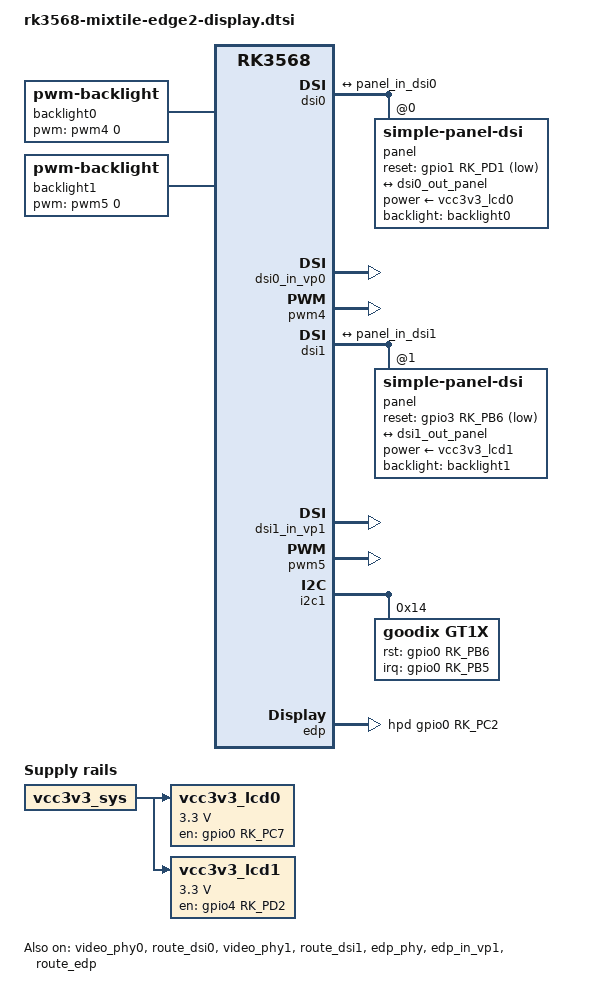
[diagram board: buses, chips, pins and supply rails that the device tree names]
/ {
        vcc3v3_lcd0: vcc3v3-lcd0 {
                compatible = "regulator-fixed";
                regulator-name = "vcc3v3_lcd0";
                regulator-boot-on;
                regulator-min-microvolt = <3300000>;
                regulator-max-microvolt = <3300000>;
                enable-active-high;
                gpio = <&gpio0 RK_PC7 GPIO_ACTIVE_HIGH>;
                vin-supply = <&vcc3v3_sys>;

                regulator-state-mem {
                        regulator-off-in-suspend;
                };
        };

        vcc3v3_lcd1: vcc3v3-lcd1 {
                compatible = "regulator-fixed";
                regulator-name = "vcc3v3_lcd1";
                regulator-boot-on;
                regulator-min-microvolt = <3300000>;
                regulator-max-microvolt = <3300000>;
                enable-active-high;
                gpio = <&gpio4 RK_PD2 GPIO_ACTIVE_HIGH>;
                vin-supply = <&vcc3v3_sys>;

                regulator-state-mem {
                        regulator-off-in-suspend;
                };
        };

        backlight0: backlight0 {
                compatible = "pwm-backlight";
                pwms = <&pwm4 0 25000 0>;
		brightness-levels = <0 255>;
                num-interpolated-steps = <255>;
                default-brightness-level = <250>;
	};

        backlight1: backlight1 {
                compatible = "pwm-backlight";
                pwms = <&pwm5 0 25000 0>;
		brightness-levels = <0 255>;
                num-interpolated-steps = <255>;
                default-brightness-level = <250>;
	};

};

&video_phy0 {
    status = "okay";
};

&dsi0 {
	status = "okay";

        panel@0 {
                compatible = "simple-panel-dsi";
                reg = <0>;
                backlight = <&backlight0>;
		reset-gpios = <&gpio1 RK_PD1 GPIO_ACTIVE_LOW>;
		pinctrl-names = "default";
		pinctrl-0 = <&lcd0_rst_gpio>;
		status = "okay";
                power-supply = <&vcc3v3_lcd0>;
                prepare-delay-ms = <60>;
                reset-delay-ms = <60>;
                init-delay-ms = <60>;
                enable-delay-ms = <60>;
                disable-delay-ms = <60>;
                unprepare-delay-ms = <60>;
                width-mm = <68>;
                height-mm = <121>;
                dsi,flags = <(MIPI_DSI_MODE_VIDEO | MIPI_DSI_MODE_VIDEO_BURST |
                              MIPI_DSI_MODE_LPM | MIPI_DSI_MODE_EOT_PACKET)>;
                dsi,format = <MIPI_DSI_FMT_RGB888>;
                dsi,lanes = <4>;

                panel-init-sequence = [
                        05 fa 01 11
			39 00 04 B9 FF 83 99
			15 00 02 BA 43
			15 00 02 D2 44
			39 00 0D B1 00 7C 34 34 44 09 22 22 71 F1 B2 4A
			39 00 0B B2 00 80 00 7F 05 07 23 4D 21 01
			39 00 29 B4 00 FF 02 40 02 40 00 00 06 00 01 02 00 0F 01 02 05 20 00 04 44 02 40 02 40 00 00 06 00 01 02 00 0F 01 02 05 00 00 04 44
			39 05 20 D3 00 01 00 00 00 06 00 00 10 04 00 04 00 00 00 00 00 00 00 00 00 00 01 05 05 07 00 00 00 05 08
			39 05 21 D5 18 18 19 19 18 18 21 20 01 00 07 06 05 04 03 02 18 18 18 18 18 18 30 30 31 31 32 32 18 18 18 18
			39 05 21 D6 18 18 19 19 40 40 20 21 06 07 00 01 02 03 04 05 40 40 40 40 40 40 30 30 31 31 32 32 40 40 40 40
			39 00 31 D8 A2 AA 02 A0 A2 A8 02 A0 B0 00 00 00 B0 00 00 00 B0 00 00 00 B0 00 00 00 E2 AA 03 F0 E2 AA 03 F0 00 00 00 00 00 00 00 00 E2 AA 03 F0 E2 AA 03 F0
			39 00 03 B6 29 29
			39 00 2B E0 01 06 06 2A 2F 3E 0F 3A 05 09 0F 13 15 14 15 12 18 07 16 07 14 01 06 06 2A 2F 3E 0F 3A 05 09 0F 13 15 14 15 12 18 07 16 07 14
			05 00 01 21
			15 00 02 36 02
			05 ff 01 11
			05 ff 01 29
                ];

                panel-exit-sequence = [
                        05 00 01 28
                        05 00 01 10
                ];

                display-timings {
                        native-mode = <&timing0>;

                        timing0: timing0 {
                                clock-frequency = <132000000>;
                                hactive = <1080>;
                                vactive = <1920>;
                                hfront-porch = <15>;
                                hsync-len = <2>;
                                hback-porch = <30>;
                                vfront-porch = <15>;
                                vsync-len = <2>;
                                vback-porch = <15>;
                                hsync-active = <0>;
                                vsync-active = <0>;
                                de-active = <0>;
                                pixelclk-active = <1>;
                     };
                };

		ports {
			#address-cells = <1>;
			#size-cells = <0>;

			port@0 {
				reg = <0>;

				panel_in_dsi0: endpoint {
					remote-endpoint = <&dsi0_out_panel>;
				};
			};
		};
	};

	ports {
		#address-cells = <1>;
		#size-cells = <0>;

		port@1 {
			reg = <1>;
			#address-cells = <1>;
			#size-cells = <0>;

			dsi0_out_panel: endpoint@0 {
				reg = <0>;
				remote-endpoint = <&panel_in_dsi0>;
			};
		};
	};
};

&dsi0_in_vp0 {
	status = "okay";
};

&dsi0_in_vp1 {
	status = "disabled";
};

&route_dsi0 {
	status = "okay";
	connect = <&vp1_out_dsi0>;
};

&pwm4 {
	status = "okay";
};


&video_phy1 {
    status = "okay";
};

&dsi1 {
	status = "okay";

        panel@1 {
                compatible = "simple-panel-dsi";
                reg = <1>;
                backlight = <&backlight1>;
		reset-gpios = <&gpio3 RK_PB6 GPIO_ACTIVE_LOW>;
                power-supply = <&vcc3v3_lcd1>;
		pinctrl-names = "default";
		pinctrl-0 = <&lcd1_rst_gpio>;
		status = "okay";
                prepare-delay-ms = <60>;
                reset-delay-ms = <60>;
                init-delay-ms = <60>;
                enable-delay-ms = <60>;
                disable-delay-ms = <60>;
                unprepare-delay-ms = <60>;
                width-mm = <68>;
                height-mm = <121>;
                dsi,flags = <(MIPI_DSI_MODE_VIDEO | MIPI_DSI_MODE_VIDEO_BURST |
                              MIPI_DSI_MODE_LPM | MIPI_DSI_MODE_EOT_PACKET)>;
                dsi,format = <MIPI_DSI_FMT_RGB888>;
                dsi,lanes = <4>;

                panel-init-sequence = [
                        05 fa 01 11
			39 00 04 B9 FF 83 99
			15 00 02 BA 43
			15 00 02 D2 44
			39 00 0D B1 00 7C 34 34 44 09 22 22 71 F1 B2 4A
			39 00 0B B2 00 80 00 7F 05 07 23 4D 21 01
			39 00 29 B4 00 FF 02 40 02 40 00 00 06 00 01 02 00 0F 01 02 05 20 00 04 44 02 40 02 40 00 00 06 00 01 02 00 0F 01 02 05 00 00 04 44
			39 05 20 D3 00 01 00 00 00 06 00 00 10 04 00 04 00 00 00 00 00 00 00 00 00 00 01 05 05 07 00 00 00 05 08
			39 05 21 D5 18 18 19 19 18 18 21 20 01 00 07 06 05 04 03 02 18 18 18 18 18 18 30 30 31 31 32 32 18 18 18 18
			39 05 21 D6 18 18 19 19 40 40 20 21 06 07 00 01 02 03 04 05 40 40 40 40 40 40 30 30 31 31 32 32 40 40 40 40
			39 00 31 D8 A2 AA 02 A0 A2 A8 02 A0 B0 00 00 00 B0 00 00 00 B0 00 00 00 B0 00 00 00 E2 AA 03 F0 E2 AA 03 F0 00 00 00 00 00 00 00 00 E2 AA 03 F0 E2 AA 03 F0
			39 00 03 B6 29 29
			39 00 2B E0 01 06 06 2A 2F 3E 0F 3A 05 09 0F 13 15 14 15 12 18 07 16 07 14 01 06 06 2A 2F 3E 0F 3A 05 09 0F 13 15 14 15 12 18 07 16 07 14
			05 00 01 21
			15 00 02 36 02
			05 ff 01 11
			05 ff 01 29
                ];

                panel-exit-sequence = [
                        05 00 01 28
                        05 00 01 10
                ];

                display-timings {
                        native-mode = <&timing1>;

                        timing1: timing1 {
				clock-frequency = <132000000>;
                                hactive = <1080>;
                                vactive = <1920>;
                                hfront-porch = <15>;
                                hsync-len = <2>;
                                hback-porch = <30>;
                                vfront-porch = <15>;
                                vsync-len = <2>;
                                vback-porch = <15>;
                                hsync-active = <0>;
                                vsync-active = <0>;
                                de-active = <0>;
                                pixelclk-active = <1>;
                        };
                };


		ports {
			#address-cells = <1>;
			#size-cells = <0>;

			port@0 {
				reg = <0>;

				panel_in_dsi1: endpoint {
					remote-endpoint = <&dsi1_out_panel>;
				};
			};
		};
	};

	ports {
		#address-cells = <1>;
		#size-cells = <0>;

		port@1 {
			reg = <1>;
			#address-cells = <1>;
			#size-cells = <0>;

			dsi1_out_panel: endpoint@0 {
				reg = <0>;
				remote-endpoint = <&panel_in_dsi1>;
			};
		};
	};
};


&dsi1_in_vp0 {
	status = "disabled";
};

&dsi1_in_vp1 {
	status = "okay";
};

&route_dsi1 {
	status = "okay";
	connect = <&vp1_out_dsi1>;
};

&pwm5 {
	status = "okay";
};


&i2c1 {
        status = "okay";

        gt1x: gt1x@14 {
                compatible = "goodix,gt1x";
                reg = <0x14>;
                pinctrl-names = "default";
                pinctrl-0 = <&touch_gpio>;
                goodix,rst-gpio = <&gpio0 RK_PB6 GPIO_ACTIVE_HIGH>;
                goodix,irq-gpio = <&gpio0 RK_PB5 IRQ_TYPE_LEVEL_LOW>;
        };
};

&pinctrl {
        touch {
                touch_gpio: touch-gpio {
                        rockchip,pins =
                                <0 RK_PB5 RK_FUNC_GPIO &pcfg_pull_up>,
                                <0 RK_PB6 RK_FUNC_GPIO &pcfg_pull_none>;
                };
        };

        lcd0 {
                lcd0_rst_gpio: lcd0-rst-gpio {
                        rockchip,pins = <1 RK_PD1 RK_FUNC_GPIO &pcfg_pull_none>;
                };
        };

        lcd1 {
                lcd1_rst_gpio: lcd1-rst-gpio {
                        rockchip,pins = <3 RK_PB6 RK_FUNC_GPIO &pcfg_pull_none>;
                };
        };
};

&edp {
        hpd-gpios = <&gpio0 RK_PC2 GPIO_ACTIVE_HIGH>;
        status = "okay";
};

&edp_phy {
        status = "okay";
};

&edp_in_vp0 {
        status = "disabled";
};

&edp_in_vp1 {
        status = "okay";
};

&route_edp {
        status = "okay";
        connect = <&vp1_out_edp>;
};

&vp0 {
        cursor-win-id = <ROCKCHIP_VOP2_CLUSTER0>;
};

&vp1 {
        cursor-win-id = <ROCKCHIP_VOP2_CLUSTER1>;
};

